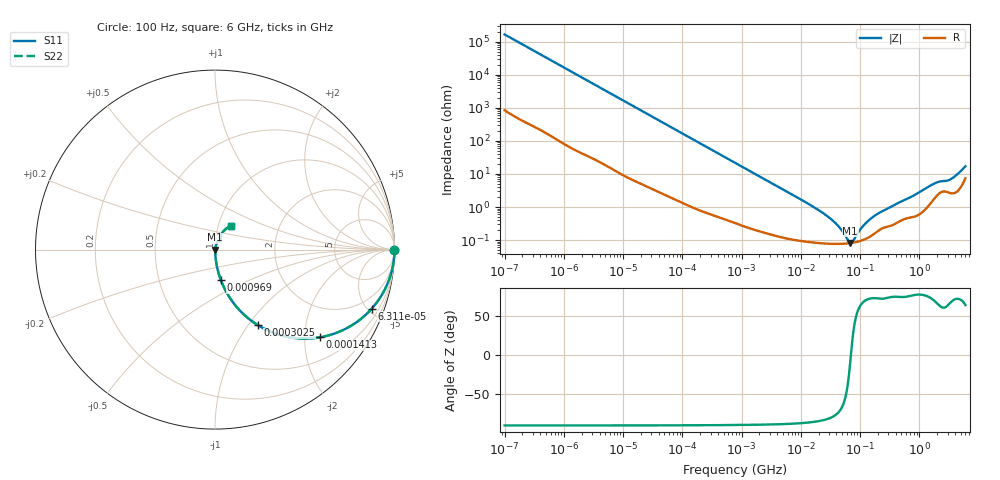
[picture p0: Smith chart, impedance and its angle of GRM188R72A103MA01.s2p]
!Murata Part Number: GRM188R72A103MA01
!These Parameters are Measured in Series Mode Connection
!Data Generated on Mar 30, 2021
!  o--ll--o
!Port1  Port2
!  o------o
!Operation Temp=25[degC], DC Bias Voltage=0[V]
!Freq. Start=100[Hz] Stop=6[GHz] 401[Steps]
# Hz S RI R 50
!Freq.(Hz) S11(Real) S11(Imag) S21(Real) S21(Imag) S12(Real) S12(Imag) S22(Real) S22(Imag)
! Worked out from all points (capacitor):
!   401 points, 100 Hz to 6 GHz, reference 50 ohm
!   read as one part in series: C = 9.71 nF near 109 Hz
!   lowest |Z| = 82.6 mohm at 68.17 MHz (marker M1)
!   series resonance near 70 MHz, so ESL is about 530 pH
!   S11 on the Smith chart (normalised r, x): 100 Hz: open; 63.12 kHz: 1.04, -5.30; 141.3 kHz: 1.02, -2.38; 302.5 kHz: 1.01, -1.11; 969 kHz: 1.01, -0.35; 6 GHz: 1.15, +0.31
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100  1 -0.000611  3.5e-06 0.000611  3.5e-06 0.000611  1 -0.000611
2008  0.9998 -0.0122  0.00021 0.0122  0.00021 0.0122  0.9998 -0.0122
12041  0.9944 -0.072  0.00562 0.072  0.00562 0.072  0.9944 -0.072
40335  0.9435 -0.2275  0.0565 0.2275  0.0565 0.2275  0.9435 -0.2275
63115  0.8736 -0.3286  0.1264 0.3286  0.1264 0.3286  0.8736 -0.3286
141303  0.5848 -0.4886  0.4152 0.4886  0.4152 0.4886  0.5848 -0.4886
302498  0.2393 -0.4213  0.7607 0.4213  0.7607 0.4213  0.2393 -0.4213
473344  0.1162 -0.3142  0.8838 0.3142  0.8838 0.3142  0.1162 -0.3142
774597  0.0486 -0.2077  0.9514 0.2077  0.9514 0.2077  0.0486 -0.2077
968953  0.0324 -0.1692  0.9676 0.1692  0.9676 0.1692  0.0324 -0.1692
2967816  0.00482 -0.0574  0.9952 0.0574  0.9952 0.0574  0.00482 -0.0574
1.555665e7  0.000967 -0.0106  0.999 0.0106  0.999 0.0106  0.000967 -0.0106
3.64232e7  0.000781 -0.00351  0.9992 0.00351  0.9992 0.00351  0.000781 -0.00351
6.817316e7  0.000814 -0.000132  0.9992 0.000132  0.9992 0.000132  0.000814 -0.000132
7.455971e7  0.000834 0.000319  0.9992 -0.000319  0.9992 -0.000319  0.000834 0.000319
1.020051e8  0.000954 0.00194  0.999 -0.00194  0.999 -0.00194  0.000954 0.00194
1.395531e8  0.00122 0.00374  0.9988 -0.00374  0.9988 -0.00374  0.00122 0.00374
1.996653e8  0.00191 0.00602  0.9981 -0.00602  0.9981 -0.00602  0.00191 0.00602
3.124326e8  0.0027 0.00914  0.9973 -0.00914  0.9973 -0.00914  0.0027 0.00914
1.791126e9  0.0197 0.0464  0.9803 -0.0464  0.9803 -0.0464  0.0197 0.0464
3.352442e9  0.0294 0.0598  0.9706 -0.0598  0.9706 -0.0598  0.0294 0.0598
6e9  0.0877 0.1304  0.9123 -0.1304  0.9123 -0.1304  0.0877 0.1304
